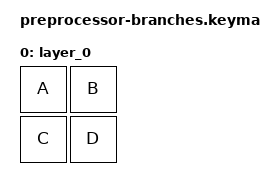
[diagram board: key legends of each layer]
/*
 * Hard .keymap corpus: #if 0 around a layer and #ifdef around hold-tap timing.
 * Covers R2-6 (Save must refuse splice when the keymap block is branched).
 */

#include <behaviors.dtsi>
#include <dt-bindings/zmk/keys.h>

/ {
    behaviors {
#ifdef SHORT_HOLD
        &mt {
            tapping-term-ms = <200>;
        };
#else
        &mt {
            tapping-term-ms = <400>;
        };
#endif
    };

    keymap {
        compatible = "zmk,keymap";

        layer_0 {
            bindings = <
&kp A &kp B
&kp C &kp D
            >;
        };
#if 0
        layer_1 {
            bindings = <
&kp E &kp F
&kp G &kp H
            >;
        };
#endif
    };
};
